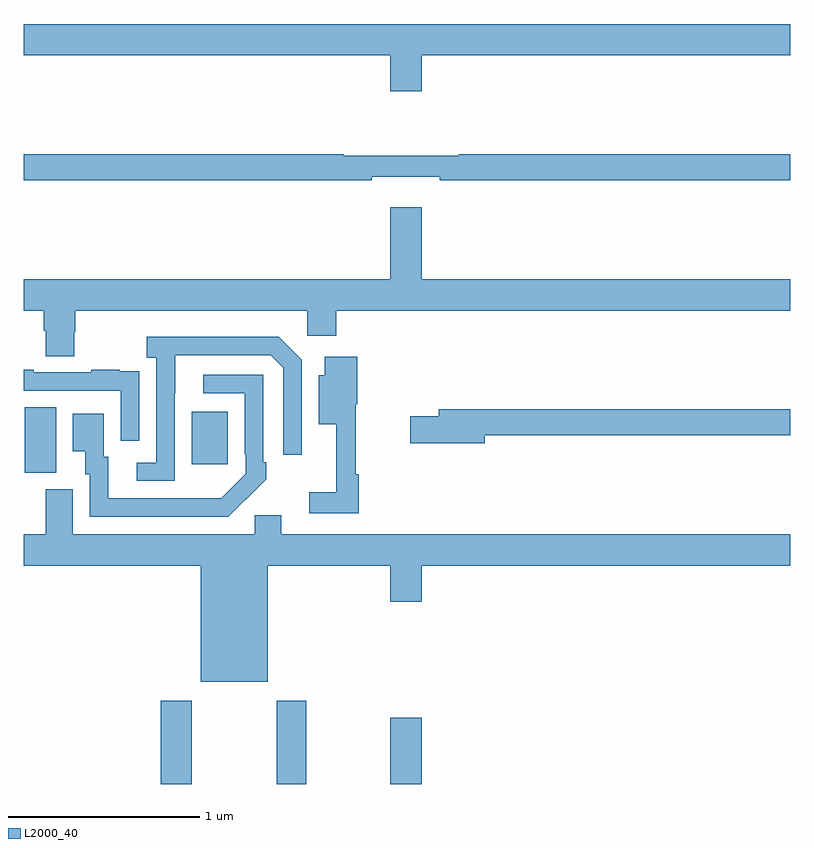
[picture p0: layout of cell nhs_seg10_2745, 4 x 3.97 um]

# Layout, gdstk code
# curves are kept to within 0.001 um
import gdstk
lib = gdstk.Library(unit=1e-6, precision=1e-09)
def R(c, l, rs):  # rectangles x0, y0, x1, y1
    for r in rs: c.add(gdstk.rectangle(r[:2], r[2:], *l))
def P(c, l, *ps):  # polygons
    for p in ps: c.add(gdstk.Polygon(p, *l))
L2000_40 = (2000, 40)

nhs_seg10_2745 = lib.new_cell('nhs_seg10_2745')
R(nhs_seg10_2745, L2000_40, [(259.715,1308.5,259.875,1308.934), (260.32,1308.5,260.475,1308.934), (260.912,1308.5,261.076,1308.847), (259.004,1310.125,259.168,1310.468), (259.877,1310.169,260.065,1310.443)])
P(nhs_seg10_2745, L2000_40, [(261.076,1312.304),(263,1312.304),(263,1312.468),(259,1312.468),(259,1312.304),(260.912,1312.304),(260.912,1312.116),(261.076,1312.116)],
  [(260.816,1311.671),(261.172,1311.671),(261.172,1311.652),(263,1311.652),(263,1311.788),(261.269,1311.788),(261.269,1311.781),(260.669,1311.781),(260.669,1311.788),(259,1311.788),(259,1311.652),(260.816,1311.652)],
  [(259.263,1310.859),(259.267,1310.859),(259.267,1310.972),(260.478,1310.972),(260.478,1310.841),(260.63,1310.841),(260.63,1310.972),(263,1310.972),(263,1311.136),(261.076,1311.136),(261.076,1311.511),(260.912,1311.511),(260.912,1311.136),(259,1311.136),(259,1310.972),(259.103,1310.972),(259.103,1310.866),(259.115,1310.866),(259.115,1310.734),(259.263,1310.734)],
  [(259.788,1310.539),(259.789,1310.739),(260.289,1310.739),(260.355,1310.673),(260.355,1310.22),(260.451,1310.22),(260.451,1310.715),(260.33,1310.836),(259.641,1310.836),(259.641,1310.726),(259.692,1310.726),(259.692,1310.178),(259.59,1310.178),(259.59,1310.082),(259.788,1310.082)],
  [(260.747,1310.117),(260.732,1310.117),(260.732,1310.482),(260.741,1310.482),(260.741,1310.731),(260.57,1310.731),(260.57,1310.635),(260.54,1310.635),(260.54,1310.378),(260.63,1310.378),(260.63,1310.023),(260.49,1310.023),(260.49,1309.914),(260.747,1309.914)],
  [(259.602,1310.546),(259.601,1310.546),(259.601,1310.655),(259.499,1310.655),(259.499,1310.662),(259.351,1310.662),(259.351,1310.649),(259.051,1310.649),(259.051,1310.662),(259,1310.662),(259,1310.553),(259.506,1310.553),(259.506,1310.292),(259.602,1310.292)],
  [(260.159,1309.987),(260.16,1309.986),(260.265,1310.091),(260.265,1310.179),(260.25,1310.179),(260.25,1310.637),(259.935,1310.637),(259.935,1310.541),(260.154,1310.541),(260.154,1310.221),(260.157,1310.221),(260.157,1310.121),(260.029,1309.993),(259.441,1309.992),(259.441,1310.208),(259.417,1310.208),(259.417,1310.434),(259.256,1310.434),(259.256,1310.237),(259.319,1310.237),(259.319,1310.118),(259.344,1310.118),(259.344,1309.896),(260.068,1309.896)],
  [(261.406,1310.32),(263,1310.32),(263,1310.456),(261.167,1310.456),(261.167,1310.42),(261.018,1310.42),(261.018,1310.278),(261.406,1310.278)],
  [(260.272,1309.64),(260.912,1309.64),(260.912,1309.452),(261.076,1309.452),(261.076,1309.64),(263,1309.64),(263,1309.804),(260.344,1309.804),(260.344,1309.902),(260.205,1309.902),(260.205,1309.804),(259.255,1309.804),(259.255,1310.04),(259.115,1310.04),(259.115,1309.804),(259,1309.804),(259,1309.64),(259.922,1309.64),(259.922,1309.034),(260.272,1309.034)])

lib.write_gds('nhs_seg10_2745.gds')
